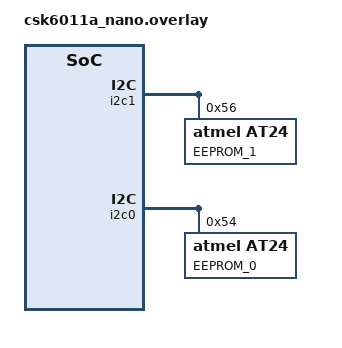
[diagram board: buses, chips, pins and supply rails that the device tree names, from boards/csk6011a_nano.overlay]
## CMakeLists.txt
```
# SPDX-License-Identifier: Apache-2.0

cmake_minimum_required(VERSION 3.20.0)

find_package(Zephyr REQUIRED HINTS $ENV{ZEPHYR_BASE})
project(i2c_slave_virtual_eeprom)

foreach(item ${ZEPHYR_EXTRA_MODULES})
    message(STATUS ${item})
endforeach()

FILE(GLOB app_sources src/*.c)

target_sources(app PRIVATE ${app_sources})
```

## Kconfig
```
# SPDX-License-Identifier: Apache-2.0

mainmenu "I2C Slave Virtual Deveice Sample"

source "Kconfig.zephyr"
```

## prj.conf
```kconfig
CONFIG_LOG=y
CONFIG_BOOT_BANNER=y

CONFIG_STDOUT_CONSOLE=y
CONFIG_PRINTK=y

CONFIG_SHELL=y
CONFIG_SHELL_LOG_LEVEL_INF=y

CONFIG_I2C=y
CONFIG_I2C_LOG_LEVEL_INF=y
CONFIG_I2C_SLAVE=y
CONFIG_I2C_EEPROM_SLAVE=y
```

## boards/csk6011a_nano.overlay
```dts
/*
 * Copyright (c) 2023 Anhui(Shenzhen) Listenai Co., Ltd.
 *
 * SPDX-License-Identifier: Apache-2.0
 */
 &pinctrl {
	/* I2C alternate function */
	pinctrl_i2c0_scl_default: i2c0_scl_default{
		pinctrls = <I2C0_SCL_GPIOA_10>;
	};

	pinctrl_i2c0_sda_default: i2c0_sda_default{
		pinctrls = <I2C0_SDA_GPIOA_11>;
	};

	pinctrl_i2c1_scl_default: i2c1_scl_default{
		pinctrls = <I2C1_SCL_GPIOA_13>;
	};

	pinctrl_i2c1_sda_default: i2c1_sda_default{
		pinctrls = <I2C1_SDA_GPIOA_12>;
	};

};


&i2c1 {
	status = "okay";
	pinctrl-0 = <&pinctrl_i2c1_scl_default &pinctrl_i2c1_sda_default>;
	pinctrl-names = "default";
};

&i2c0 {
	status = "okay";
	pinctrl-0 = <&pinctrl_i2c0_scl_default &pinctrl_i2c0_sda_default>;
	pinctrl-names = "default";
};

&i2c0 {
	status = "okay";
	eeprom0: eeprom@54 {
		compatible = "atmel,at24";
		reg = <0x54>;
		label = "EEPROM_0";
		size = <1024>;
		pagesize = <16>;
		address-width = <8>;
		timeout = <5>;

	};
};

&i2c1 {
	status = "okay";
	eeprom1: eeprom@56 {
		compatible = "atmel,at24";
		reg = <0x56>;
		label = "EEPROM_1";
		size = <1024>;
		pagesize = <16>;
		address-width = <8>;
		timeout = <5>;
	};
};
```

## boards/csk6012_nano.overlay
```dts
/*
 * Copyright (c) 2023 Anhui(Shenzhen) Listenai Co., Ltd.
 *
 * SPDX-License-Identifier: Apache-2.0
 */
&pinctrl {
	/* I2C alternate function */
	pinctrl_i2c0_scl_default: i2c0_scl_default{
		pinctrls = <I2C0_SCL_GPIOA_10>;
	};

	pinctrl_i2c0_sda_default: i2c0_sda_default{
		pinctrls = <I2C0_SDA_GPIOA_11>;
	};
};

&i2c0 {
	status = "okay";
	pinctrl-0 = <&pinctrl_i2c0_scl_default &pinctrl_i2c0_sda_default>;
	pinctrl-names = "default";
	eeprom0: eeprom@32 {
		compatible = "atmel,at24";
		reg = <0x32>;
		label = "EEPROM_0";
		size = <1024>;
		pagesize = <16>;
		address-width = <8>;
		timeout = <5>;

	};
};
```

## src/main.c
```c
/*
 * Copyright (c) 2017 BayLibre, SAS
 * Copyright (c) 2020 Nordic Semiconductor ASA
 *
 * SPDX-License-Identifier: Apache-2.0
 */

#include <errno.h>
#include <string.h>

#include <zephyr/zephyr.h>
#include <zephyr/device.h>
#include <stdio.h>
#include <zephyr/sys/util.h>

#include <zephyr/drivers/i2c.h>
#include <zephyr/drivers/i2c/slave/eeprom.h>

#define NODE_EP0 DT_NODELABEL(eeprom0)

#define TEST_DATA_SIZE	20
static const uint8_t eeprom_0_data[TEST_DATA_SIZE] = {
	0x10, 0x11, 0x12, 0x13, 0x14,
	0x15, 0x16, 0x17, 0x18, 0x19,
	0x20, 0x21, 0x22, 0x23, 0x24,
	0x25, 0x26, 0x27, 0x28, 0x29,
};

void test_virtual_eeprom(void)
{
	const char *label_0 = DT_LABEL(NODE_EP0);
	// int addr_0 = DT_REG_ADDR(NODE_EP0);
	const struct device *eeprom_0 = device_get_binding(label_0);

	int ret;
	ret = eeprom_slave_program(eeprom_0, eeprom_0_data, TEST_DATA_SIZE);
	
	/* Attach each EEPROM to its owning bus as a slave device. */
	ret = i2c_slave_driver_register(eeprom_0);
	if (ret != 0) {
		printk("Failed to register EEPROM %s, ret=%d\n", label_0, ret);
	}
}

void main(void)
{
	test_virtual_eeprom();
	while (1)
	{
		k_msleep(2000);
	}
}
```
